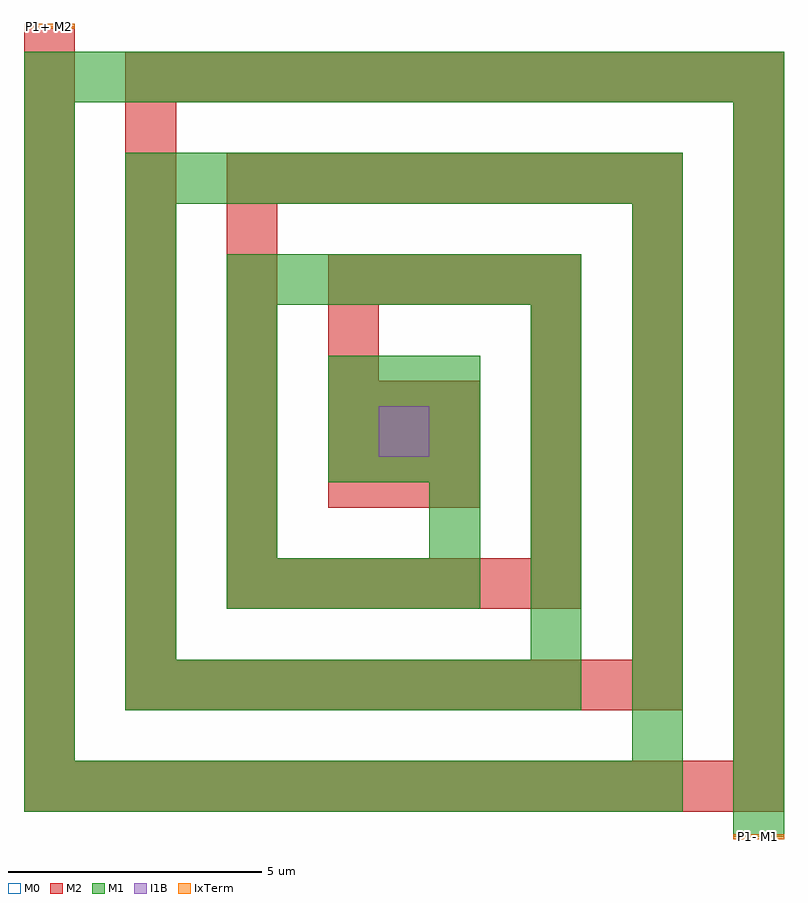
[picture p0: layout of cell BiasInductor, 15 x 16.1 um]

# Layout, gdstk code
from math import pi, radians
import gdstk
lib = gdstk.Library(unit=1e-6, precision=1e-09)
def R(c, l, rs):  # rectangles x0, y0, x1, y1
    for r in rs: c.add(gdstk.rectangle(r[:2], r[2:], *l))
M1 = (1, 0)
I1B = (3, 0)
M2 = (6, 0)
M0 = (30, 0)
IxTerm = (63, 0)

squarespiral_15 = lib.new_cell('SquareSpiral$15')
squarespiral_15.add(gdstk.FlexPath([(0.5,1),(0.5,1),(0.5,-1),(-1.5,-1),(-1.5,3),(2.5,3),(2.5,-3),(-3.5,-3),(-3.5,5),(4.5,5),(4.5,-5),(-5.5,-5),(-5.5,7),(6.5,7),(6.5,-7),(-7.5,-7),(-7.5,7.5)], 1, ends="flush", simple_path=True, layer=6, datatype=0))  # M2

squarespiral_14 = lib.new_cell('SquareSpiral$14')
squarespiral_14.add(gdstk.FlexPath([(0.5,1),(0.5,1),(0.5,-1),(-1.5,-1),(-1.5,3),(2.5,3),(2.5,-3),(-3.5,-3),(-3.5,5),(4.5,5),(4.5,-5),(-5.5,-5),(-5.5,7),(6.5,7),(6.5,-7),(-7.5,-7),(-7.5,7.5)], 1, ends="flush", simple_path=True, layer=1, datatype=0))  # M1

via_m2_m1 = lib.new_cell('Via$M2-M1')
R(via_m2_m1, M1, [(-1,-1,1,1)])
R(via_m2_m1, I1B, [(-0.5,-0.5,0.5,0.5)])
R(via_m2_m1, M2, [(-1,-1,1,1)])

biasinductor = lib.new_cell('BiasInductor')
R(biasinductor, M0, [(-7.5,-7.5,7.5,7.5)])
biasinductor.add(gdstk.FlexPath([(-7,7.5),(-7,8)], 1, ends="flush", simple_path=True, layer=6, datatype=0))  # M2
biasinductor.add(gdstk.FlexPath([(7,-7.5),(7,-8)], 1, ends="flush", simple_path=True, layer=1, datatype=0))  # M1
biasinductor.add(gdstk.FlexPath([(-7.5,8),(-6.5,8)], 0.1, ends="flush", simple_path=True, layer=63, datatype=0))  # IxTerm
biasinductor.add(gdstk.FlexPath([(6.5,-8),(7.5,-8)], 0.1, ends="flush", simple_path=True, layer=63, datatype=0))  # IxTerm
biasinductor.add(gdstk.Reference(squarespiral_15, (0.5,0)))
biasinductor.add(gdstk.Reference(squarespiral_14, (-0.5,0), rotation=pi))
biasinductor.add(gdstk.Reference(via_m2_m1, (0,0)))
biasinductor.add(gdstk.Label('P1+ M2', (-7,8), layer=64, texttype=0))
biasinductor.add(gdstk.Label('P1- M1', (7,-8), layer=64, texttype=0))

lib.write_gds('BiasInductor.gds')
